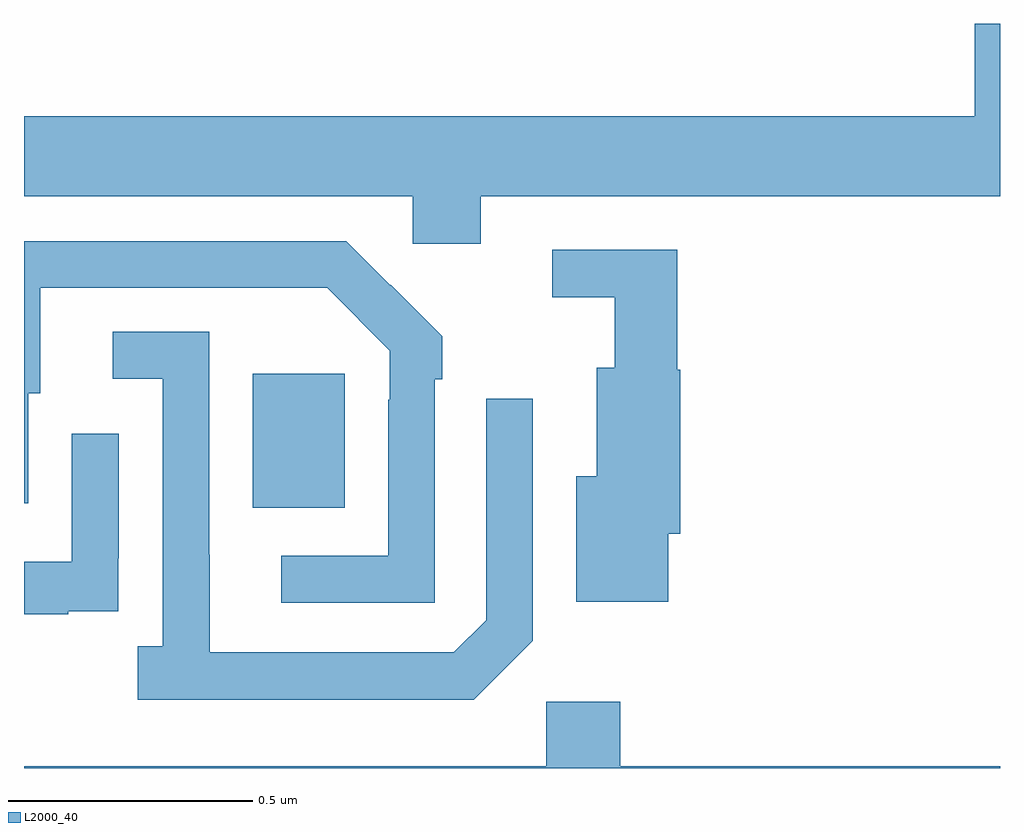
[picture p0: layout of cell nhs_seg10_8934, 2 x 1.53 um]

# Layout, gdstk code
import gdstk
lib = gdstk.Library(unit=1e-6, precision=1e-09)
def R(c, l, rs):  # rectangles x0, y0, x1, y1
    for r in rs: c.add(gdstk.rectangle(r[:2], r[2:], *l))
def P(c, l, *ps):  # polygons
    for p in ps: c.add(gdstk.Polygon(p, *l))
L2000_40 = (2000, 40)

nhs_seg10_8934 = lib.new_cell('nhs_seg10_8934')
R(nhs_seg10_8934, L2000_40, [(223.469,1277.033,223.657,1277.308)])
P(nhs_seg10_8934, L2000_40, [(225,1278.025),(224.948,1278.025),(224.948,1277.836),(223,1277.836),(223,1277.672),(223.797,1277.672),(223.797,1277.574),(223.936,1277.574),(223.936,1277.672),(225,1277.672)],
  [(223.842,1277.297),(223.857,1277.297),(223.857,1277.385),(223.752,1277.49),(223.751,1277.489),(223.66,1277.58),(223,1277.58),(223,1277.043),(223.009,1277.043),(223.009,1277.268),(223.033,1277.268),(223.033,1277.484),(223.621,1277.484),(223.749,1277.355),(223.749,1277.255),(223.746,1277.255),(223.746,1276.935),(223.527,1276.935),(223.527,1276.839),(223.842,1276.839)],
  [(224.32,1276.98),(224.345,1276.98),(224.345,1277.316),(224.339,1277.316),(224.339,1277.562),(224.082,1277.562),(224.082,1277.465),(224.211,1277.465),(224.211,1277.32),(224.174,1277.32),(224.174,1277.098),(224.132,1277.098),(224.132,1276.841),(224.32,1276.841)],
  [(224.043,1276.761),(224.043,1277.257),(223.947,1277.257),(223.947,1276.803),(223.881,1276.737),(223.381,1276.737),(223.381,1276.937),(223.38,1276.937),(223.38,1277.394),(223.182,1277.394),(223.182,1277.298),(223.284,1277.298),(223.284,1276.75),(223.233,1276.75),(223.233,1276.64),(223.922,1276.64)],
  [(223.091,1276.821),(223.193,1276.821),(223.193,1276.93),(223.194,1276.93),(223.194,1277.185),(223.098,1277.185),(223.098,1276.923),(223,1276.923),(223,1276.815),(223.091,1276.815)],
  [(225,1276.504),(224.222,1276.504),(224.222,1276.636),(224.07,1276.636),(224.07,1276.504),(223,1276.504),(223,1276.5),(225,1276.5)])

lib.write_gds('nhs_seg10_8934.gds')
